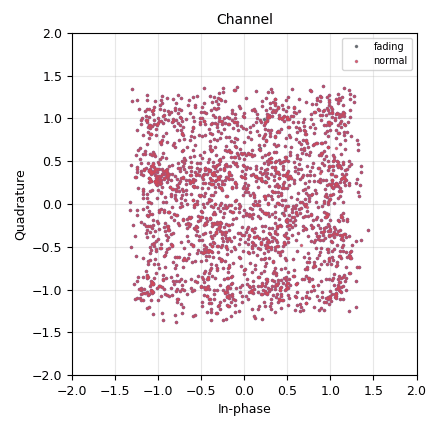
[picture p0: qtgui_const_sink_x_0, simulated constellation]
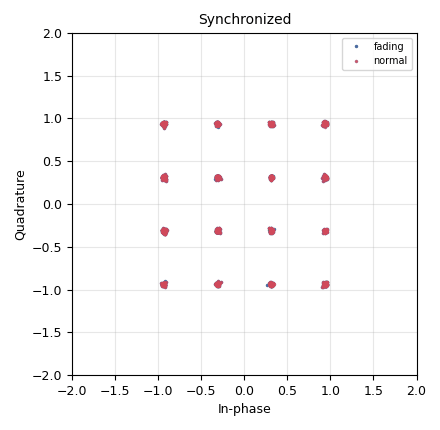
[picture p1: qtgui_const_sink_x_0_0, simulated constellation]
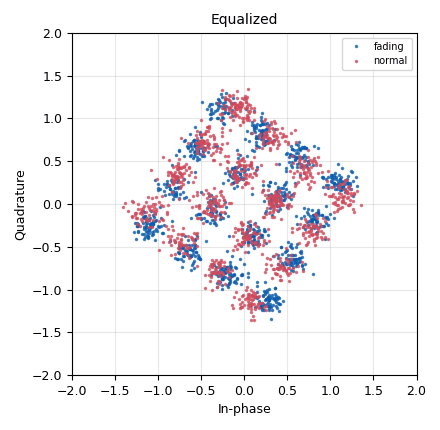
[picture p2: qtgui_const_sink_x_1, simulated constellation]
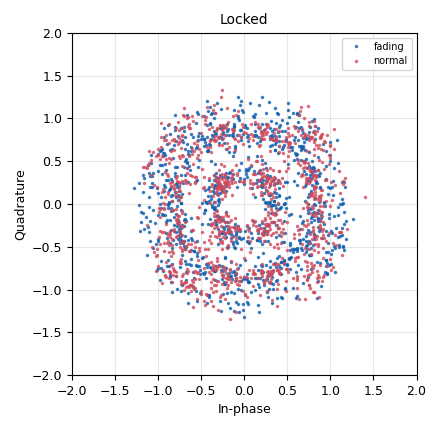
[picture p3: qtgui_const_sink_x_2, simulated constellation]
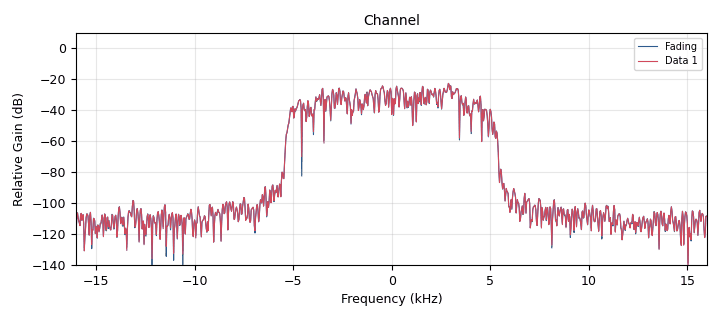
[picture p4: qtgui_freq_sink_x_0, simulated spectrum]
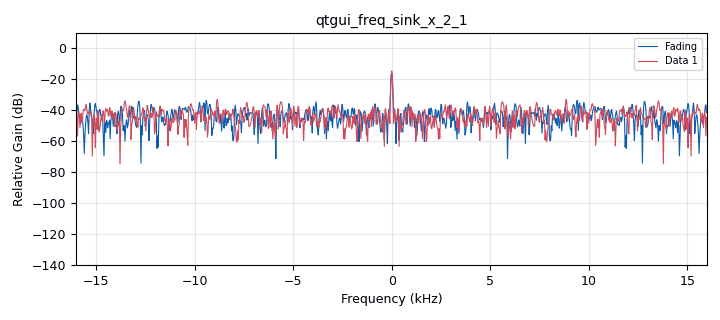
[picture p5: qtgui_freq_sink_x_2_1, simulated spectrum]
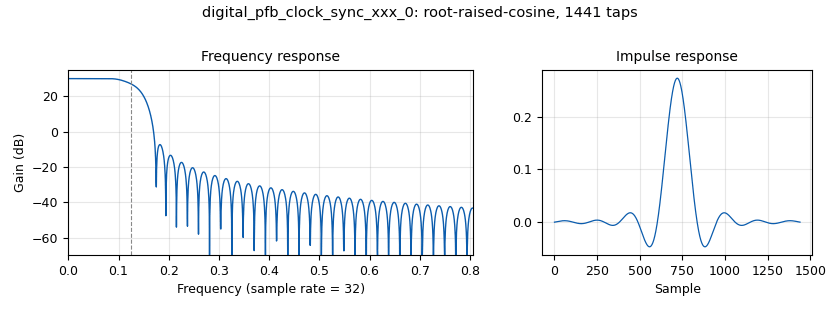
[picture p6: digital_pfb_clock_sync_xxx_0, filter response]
options:
  parameters:
    author: Pross Naoki, Halter Sara Cinzia
    generate_options: qt_gui
    id: qam_fading_block
    output_language: python
    realtime_scheduling: '1'
    title: QAM mit Fading
  states: {}

blocks:
- name: LOS_NLOS
  id: variable_qtgui_range
  parameters:
    gui_hint: 'params@2: 0,0,1,1'
    label: LOS_NLOS
    orient: Qt.Horizontal
    rangeType: int
    start: '0'
    step: '1'
    stop: '1'
    value: '1'
  states: {}
- name: amp_1
  id: variable_qtgui_range
  parameters:
    gui_hint: 'params@2: 1,1,1,1'
    label: Ampliude
    orient: Qt.Horizontal
    start: '0'
    step: '0.1'
    stop: '5'
    value: '0.2'
  states: {}
- name: amp_2
  id: variable_qtgui_range
  parameters:
    gui_hint: 'params@2: 2,1,1,1'
    label: Ampliude 2
    orient: Qt.Horizontal
    start: '0'
    step: '0.1'
    stop: '5'
    value: '0'
  states: {}
- name: amp_3
  id: variable_qtgui_range
  parameters:
    gui_hint: 'params@2: 3,1,1,1'
    label: Ampliude 3
    orient: Qt.Horizontal
    start: '0'
    step: '0.1'
    stop: '5'
    value: '0'
  states: {}
- name: chn_taps
  id: variable
  parameters:
    value: '[1.0 + 0.0j, ]'
  states: {}
- name: const
  id: variable_constellation
  parameters:
    precision: '8'
    type: 16qam
  states: {}
- name: eq_gain
  id: variable_qtgui_range
  parameters:
    gui_hint: 'params@1: 0,0,1,1'
    label: Equalizer Rate
    orient: Qt.Horizontal
    start: '0'
    step: '.001'
    stop: '.1'
    value: '.01'
  states: {}
- name: eq_mod
  id: variable
  parameters:
    value: '1'
  states: {}
- name: eq_ntaps
  id: variable
  parameters:
    value: '15'
  states: {}
- name: excess_bw
  id: variable
  parameters:
    value: '350e-3'
  states: {}
- name: fading_1
  id: variable_qtgui_range
  parameters:
    gui_hint: 'params@2: 1,0,1,1'
    label: Fading
    orient: Qt.Horizontal
    rangeType: int
    start: '1'
    step: '1'
    stop: '30'
    value: '2'
  states: {}
- name: fading_2
  id: variable_qtgui_range
  parameters:
    gui_hint: 'params@2: 2,0,1,1'
    label: Fading 2
    orient: Qt.Horizontal
    rangeType: int
    start: '0'
    step: '1'
    stop: '30'
    value: '0'
  states: {}
- name: fading_3
  id: variable_qtgui_range
  parameters:
    gui_hint: 'params@2: 3,0,1,1'
    label: Fading 3
    orient: Qt.Horizontal
    rangeType: int
    start: '0'
    step: '1'
    stop: '30'
    value: '0'
  states: {}
- name: freq_offset
  id: variable_qtgui_range
  parameters:
    gui_hint: 'params@0: 1,0,1,1'
    label: Frequency Offset
    orient: Qt.Horizontal
    start: '-100e-3'
    step: '1e-3'
    stop: '100e-3'
    value: '0'
  states: {}
- name: nfilts
  id: variable
  parameters:
    value: '32'
  states: {}
- name: noise_volt
  id: variable_qtgui_range
  parameters:
    gui_hint: 'params@0: 0,0,1,1'
    label: Noise Voltage
    orient: Qt.Horizontal
    start: '0'
    step: '0.01'
    stop: '1'
    value: '0.0001'
  states: {}
- name: phase_bw
  id: variable_qtgui_range
  parameters:
    gui_hint: 'params@1: 1,0,1,1'
    label: Phase Bandwidth
    orient: Qt.Horizontal
    start: '0'
    step: '.01'
    stop: '1'
    value: 2 * 3.141592653589793 / 100
  states: {}
- name: rrc_taps
  id: variable
  parameters:
    value: firdes.root_raised_cosine(nfilts, nfilts, 1.0/float(sps), excess_bw, 45*nfilts)
  states: {}
- name: samp_rate
  id: variable
  parameters:
    value: '32000'
  states: {}
- name: sps
  id: variable
  parameters:
    value: '4'
  states: {}
- name: time_offset
  id: variable_qtgui_range
  parameters:
    gui_hint: 'params@0: 0,1,1,1'
    label: Timing Offset
    orient: Qt.Horizontal
    start: '0.999'
    step: '0.0001'
    stop: '1.001'
    value: '1.0'
  states: {}
- name: timing_loop_bw
  id: variable_qtgui_range
  parameters:
    gui_hint: 'params@0: 1,1,1,1'
    label: Time Bandwidth
    orient: Qt.Horizontal
    start: '0'
    step: '10e-3'
    stop: '200e-3'
    value: 2 * 3.141592653589793 / 100
  states: {}
- name: analog_random_source_x_0
  id: analog_random_source_x
  parameters:
    max: '256'
    min: '0'
    num_samps: '1000'
    repeat: 'True'
    type: byte
  states: {}
- name: blocks_char_to_float_0
  id: blocks_char_to_float
  parameters:
    scale: '1'
  states: {}
- name: blocks_char_to_float_0_0
  id: blocks_char_to_float
  parameters:
    scale: '1'
  states: {}
- name: blocks_char_to_float_0_1
  id: blocks_char_to_float
  parameters:
    scale: '1'
  states: {}
- name: blocks_delay_0
  id: blocks_delay
  parameters:
    delay: '50'
    type: float
  states: {}
- name: blocks_file_sink_0
  id: blocks_file_sink
  parameters:
    file: /home/sara/Documents/Fading/simulation/QAM_Fading/qam_fading_V2_output.grc
    type: float
  states: {state: disabled}
- name: blocks_throttle_0
  id: blocks_throttle
  parameters:
    samples_per_second: samp_rate
    type: complex
  states: {}
- name: blocks_unpack_k_bits_bb_0
  id: blocks_unpack_k_bits_bb
  parameters:
    k: '2'
  states: {}
- name: blocks_unpack_k_bits_bb_0_0
  id: blocks_unpack_k_bits_bb
  parameters:
    k: '2'
  states: {}
- name: blocks_unpack_k_bits_bb_0_1
  id: blocks_unpack_k_bits_bb
  parameters:
    k: '2'
  states: {}
- name: channels_channel_model_0
  id: channels_channel_model
  parameters:
    epsilon: time_offset
    freq_offset: freq_offset
    noise_voltage: noise_volt
    seed: '0'
    taps: chn_taps
  states: {}
- name: digital_cma_equalizer_cc_0
  id: digital_cma_equalizer_cc
  parameters:
    modulus: eq_mod
    mu: eq_gain
    num_taps: eq_ntaps
    sps: '2'
  states: {}
- name: digital_cma_equalizer_cc_0_0
  id: digital_cma_equalizer_cc
  parameters:
    modulus: eq_mod
    mu: eq_gain
    num_taps: eq_ntaps
    sps: '2'
  states: {}
- name: digital_constellation_decoder_cb_0
  id: digital_constellation_decoder_cb
  parameters:
    constellation: const
  states: {}
- name: digital_constellation_decoder_cb_0_0
  id: digital_constellation_decoder_cb
  parameters:
    constellation: const
  states: {}
- name: digital_constellation_modulator_0
  id: digital_constellation_modulator
  parameters:
    constellation: const
    differential: 'True'
    excess_bw: excess_bw
    samples_per_symbol: sps
  states: {}
- name: digital_costas_loop_cc_0
  id: digital_costas_loop_cc
  parameters:
    order: '4'
    w: phase_bw
  states: {}
- name: digital_costas_loop_cc_0_0
  id: digital_costas_loop_cc
  parameters:
    order: '4'
    w: phase_bw
  states: {}
- name: digital_diff_decoder_bb_0
  id: digital_diff_decoder_bb
  parameters:
    modulus: '4'
  states: {}
- name: digital_diff_decoder_bb_0_0
  id: digital_diff_decoder_bb
  parameters:
    modulus: '4'
  states: {}
- name: digital_map_bb_0
  id: digital_map_bb
  parameters:
    map: '[0, 1, 3, 2]'
  states: {}
- name: digital_map_bb_0_0
  id: digital_map_bb
  parameters:
    map: '[0, 1, 3, 2]'
  states: {}
- name: digital_pfb_clock_sync_xxx_0
  id: digital_pfb_clock_sync_xxx
  parameters:
    filter_size: nfilts
    init_phase: nfilts/2
    loop_bw: timing_loop_bw
    max_dev: '1.5'
    osps: '1'
    sps: sps
    taps: rrc_taps
    type: ccf
  states: {}
- name: digital_pfb_clock_sync_xxx_0_0
  id: digital_pfb_clock_sync_xxx
  parameters:
    filter_size: nfilts
    init_phase: nfilts/2
    loop_bw: timing_loop_bw
    max_dev: '1.5'
    osps: '1'
    sps: 'sps '
    taps: rrc_taps
    type: ccf
  states: {}
- name: epy_block_0
  id: epy_block
  parameters:
    _source_code: |-
      """
      Embedded Python Blocks:

      Each time this file is saved, GRC will instantiate the first class it finds
      to get ports and parameters of your block. The arguments to __init__  will
      be the parameters. All of them are required to have default values!
      """

      import numpy as np
      from numpy.fft import fft,ifft,fftshift
      from gnuradio import gr


      class blk(gr.sync_block):  # other base classes are basic_block, decim_block, interp_block
          """Embedded Python Block example - a simple multiply const"""

          def __init__(self, amplitudes=[], delays=[], los=True):  # only default arguments here
              """arguments to this function show up as parameters in GRC"""
              gr.sync_block.__init__(
                  self,
                  name='Embedded Python Block',   # will show up in GRC
                  in_sig=[np.complex64],
                  out_sig=[np.complex64]
              )
              # if an attribute with the same name as a parameter is found,
              # a callback is registered (properties work, too).
              self.amplitudes = amplitudes
              self.delays = delays
              self.temp = [0]
              # if los:
              #     self.amplitudes.append(1)
              #     self.delays.append(0)
              self.los= 1
              #self.fir = 

          def work(self, input_items, output_items):
              """example: multiply with constant"""
              inp = input_items[0]
              oup = output_items[0]
              
              if len(self.amplitudes) != len(self.delays):
                  raise Exception("Amplitudes and Delay length dont match")

              #    raise Exception("Delay length can't be one")
              #if np.min(self.delays)<=1:
              #    raise Exception("Delay length can't be one")
              max_len = np.max(self.delays)
              sum_x = np.zeros(max_len)
              for(a,d) in zip(self.amplitudes,self.delays):
                  # if d-1 <= 0:
                  #     x = np.concatenate([[a], np.zeros(max_len-1)])
                  # else:                
                  x = np.concatenate([np.zeros(d-1), [a], np.zeros(max_len-d)])
                  sum_x += x
              
              #sum_x[0] = self.los
              print(sum_x)
              
              H_int = fft(sum_x)

              h = ifft(H_int)

              #h[0]=1

              y = np.convolve(inp, sum_x)
              
              y+=np.concatenate([self.temp,np.zeros(len(y)-len(self.temp))])
              

              oup[:] = y[:len(inp)]
              self.temp = y[len(inp):]        
              

              return len(oup)
    amplitudes: '[0.2,0.2,0.2,0.2,0.2]'
    delays: '[sps+1,sps+1,sps+1,sps+1,sps+1]'
    los: 'True'
  states: {}
- name: epy_block_1
  id: epy_block
  parameters:
    _source_code: |
      """
      Embedded Python Blocks:

      Each time this file is saved, GRC will instantiate the first class it finds
      to get ports and parameters of your block. The arguments to __init__  will
      be the parameters. All of them are required to have default values!
      """

      import numpy as np
      from gnuradio import gr


      class blk(gr.sync_block):  # other base classes are basic_block, decim_block, interp_block
          """Embedded Python Block example - a simple multiply const"""

          def __init__(self, example_param=1.0):  # only default arguments here
              """arguments to this function show up as parameters in GRC"""
              gr.sync_block.__init__(
                  self,
                  name='Embedded Python Block',   # will show up in GRC
                  in_sig=[np.complex64],
                  out_sig=[np.complex64]
              )
              # if an attribute with the same name as a parameter is found,
              # a callback is registered (properties work, too).
              self.example_param = example_param

          def work(self, input_items, output_items):
              """example: multiply with constant"""
              output_items[0][:] = input_items[0] * self.example_param
              return len(output_items[0])
    example_param: ''
  states: {state: disabled}
- name: import_0
  id: import
  parameters:
    imports: import numpy as np
  states: {}
- name: params
  id: qtgui_tab_widget
  parameters:
    label0: Channel
    label1: Receiver
    label2: Fading
    num_tabs: '3'
  states: {}
- name: plots
  id: qtgui_tab_widget
  parameters:
    label0: Constellations
    label1: Frequency
    label2: Time
    num_tabs: '3'
  states: {}
- name: qtgui_const_sink_x_0
  id: qtgui_const_sink_x
  parameters:
    gui_hint: 'plots@0: 0,0,1,1'
    label1: fading
    label2: normal
    name: '"Channel"'
    nconnections: '2'
    size: '2048'
    type: complex
  states: {}
- name: qtgui_const_sink_x_0_0
  id: qtgui_const_sink_x
  parameters:
    gui_hint: 'plots@0: 0,1,1,1'
    label1: fading
    label2: normal
    name: '"Synchronized"'
    nconnections: '2'
    size: '2048'
    type: complex
  states: {}
- name: qtgui_const_sink_x_1
  id: qtgui_const_sink_x
  parameters:
    gui_hint: 'plots@0: 1,0,1,1'
    label1: fading
    label2: normal
    name: '"Equalized"'
    nconnections: '2'
    size: '1024'
    type: complex
  states: {}
- name: qtgui_const_sink_x_2
  id: qtgui_const_sink_x
  parameters:
    gui_hint: 'plots@0: 1,1,1,1'
    label1: fading
    label2: normal
    name: '"Locked"'
    nconnections: '2'
    size: '1024'
    type: complex
  states: {}
- name: qtgui_freq_sink_x_0
  id: qtgui_freq_sink_x
  parameters:
    bw: samp_rate
    fc: '0'
    fftsize: '1024'
    gui_hint: 'plots@1: 0,0,1,1'
    label1: Fading
    name: '"Channel"'
    nconnections: '2'
    type: complex
    wintype: firdes.WIN_BLACKMAN_hARRIS
  states: {}
- name: qtgui_freq_sink_x_2_1
  id: qtgui_freq_sink_x
  parameters:
    bw: samp_rate
    fc: '0'
    fftsize: '1024'
    gui_hint: 'plots@1: 1,0,1,1'
    label1: Fading
    nconnections: '2'
    type: float
    wintype: firdes.WIN_BLACKMAN_hARRIS
  states: {}
- name: qtgui_time_sink_x_0
  id: qtgui_time_sink_x
  parameters:
    gui_hint: 'plots@2: 0,0,1,1'
    label1: Received
    label2: Sent
    name: '"Decoded"'
    nconnections: '3'
    size: '1024'
    srate: samp_rate
    type: float
  states: {}

connections:
- [analog_random_source_x_0, '0', blocks_unpack_k_bits_bb_0_0, '0']
- [analog_random_source_x_0, '0', digital_constellation_modulator_0, '0']
- [blocks_char_to_float_0, '0', blocks_file_sink_0, '0']
- [blocks_char_to_float_0, '0', qtgui_freq_sink_x_2_1, '0']
- [blocks_char_to_float_0, '0', qtgui_time_sink_x_0, '0']
- [blocks_char_to_float_0_0, '0', blocks_delay_0, '0']
- [blocks_char_to_float_0_1, '0', qtgui_freq_sink_x_2_1, '1']
- [blocks_char_to_float_0_1, '0', qtgui_time_sink_x_0, '2']
- [blocks_delay_0, '0', qtgui_time_sink_x_0, '1']
- [blocks_throttle_0, '0', channels_channel_model_0, '0']
- [blocks_unpack_k_bits_bb_0, '0', blocks_char_to_float_0, '0']
- [blocks_unpack_k_bits_bb_0_0, '0', blocks_char_to_float_0_0, '0']
- [blocks_unpack_k_bits_bb_0_1, '0', blocks_char_to_float_0_1, '0']
- [channels_channel_model_0, '0', digital_pfb_clock_sync_xxx_0_0, '0']
- [channels_channel_model_0, '0', epy_block_0, '0']
- [channels_channel_model_0, '0', qtgui_const_sink_x_0, '1']
- [channels_channel_model_0, '0', qtgui_freq_sink_x_0, '1']
- [digital_cma_equalizer_cc_0, '0', digital_costas_loop_cc_0, '0']
- [digital_cma_equalizer_cc_0, '0', qtgui_const_sink_x_1, '0']
- [digital_cma_equalizer_cc_0_0, '0', digital_costas_loop_cc_0_0, '0']
- [digital_cma_equalizer_cc_0_0, '0', qtgui_const_sink_x_1, '1']
- [digital_constellation_decoder_cb_0, '0', digital_diff_decoder_bb_0, '0']
- [digital_constellation_decoder_cb_0_0, '0', digital_diff_decoder_bb_0_0, '0']
- [digital_constellation_modulator_0, '0', blocks_throttle_0, '0']
- [digital_costas_loop_cc_0, '0', digital_constellation_decoder_cb_0, '0']
- [digital_costas_loop_cc_0, '0', qtgui_const_sink_x_2, '0']
- [digital_costas_loop_cc_0_0, '0', digital_constellation_decoder_cb_0_0, '0']
- [digital_costas_loop_cc_0_0, '0', qtgui_const_sink_x_2, '1']
- [digital_diff_decoder_bb_0, '0', digital_map_bb_0, '0']
- [digital_diff_decoder_bb_0_0, '0', digital_map_bb_0_0, '0']
- [digital_map_bb_0, '0', blocks_unpack_k_bits_bb_0, '0']
- [digital_map_bb_0_0, '0', blocks_unpack_k_bits_bb_0_1, '0']
- [digital_pfb_clock_sync_xxx_0, '0', digital_cma_equalizer_cc_0, '0']
- [digital_pfb_clock_sync_xxx_0, '0', qtgui_const_sink_x_0_0, '0']
- [digital_pfb_clock_sync_xxx_0_0, '0', digital_cma_equalizer_cc_0_0, '0']
- [digital_pfb_clock_sync_xxx_0_0, '0', qtgui_const_sink_x_0_0, '1']
- [epy_block_0, '0', digital_pfb_clock_sync_xxx_0, '0']
- [epy_block_0, '0', qtgui_const_sink_x_0, '0']
- [epy_block_0, '0', qtgui_freq_sink_x_0, '0']

metadata:
  file_format: 1
